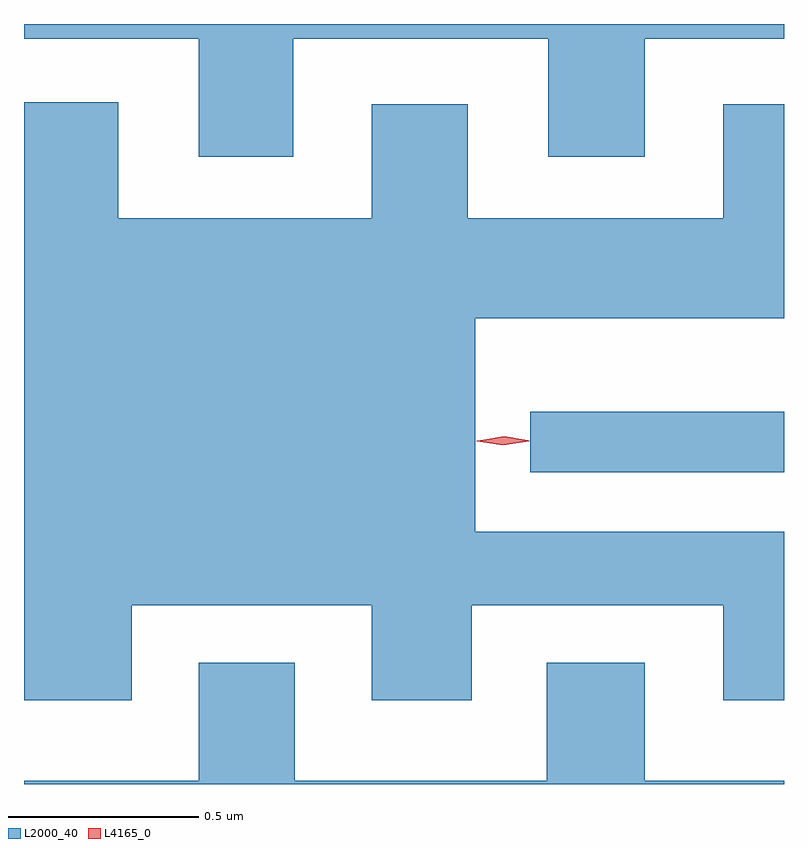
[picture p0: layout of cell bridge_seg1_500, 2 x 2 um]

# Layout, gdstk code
import gdstk
lib = gdstk.Library(unit=1e-6, precision=1e-09)
def R(c, l, rs):  # rectangles x0, y0, x1, y1
    for r in rs: c.add(gdstk.rectangle(r[:2], r[2:], *l))
def P(c, l, *ps):  # polygons
    for p in ps: c.add(gdstk.Polygon(p, *l))
L2000_40 = (2000, 40)
L4165_0 = (4165, 0)

bridge_seg1_500 = lib.new_cell('bridge_seg1_500')
R(bridge_seg1_500, L2000_40, [(481.443,847.376,482.111,847.534)])
P(bridge_seg1_500, L2000_40, [(480.819,848.516),(481.491,848.516),(481.491,848.206),(481.744,848.206),(481.744,848.516),(482.111,848.516),(482.111,848.555),(480.111,848.555),(480.111,848.516),(480.571,848.516),(480.571,848.206),(480.819,848.206)],
  [(480.394,847.026),(481.026,847.026),(481.026,846.776),(481.289,846.776),(481.289,847.026),(481.951,847.026),(481.951,846.776),(482.111,846.776),(482.111,847.219),(481.299,847.219),(481.299,847.781),(482.111,847.781),(482.111,848.344),(481.951,848.344),(481.951,848.044),(481.279,848.044),(481.279,848.344),(481.026,848.344),(481.026,848.044),(480.359,848.044),(480.359,848.349),(480.111,848.349),(480.111,846.776),(480.394,846.776)],
  [(482.111,846.564),(481.744,846.564),(481.744,846.874),(481.486,846.874),(481.486,846.564),(480.824,846.564),(480.824,846.874),(480.571,846.874),(480.571,846.564),(480.111,846.564),(480.111,846.555),(482.111,846.555)])
P(bridge_seg1_500, L4165_0, [(481.375,847.45),(481.313,847.459),(481.312,847.46),(481.313,847.46),(481.375,847.47),(481.436,847.46),(481.437,847.46),(481.436,847.459)],
  [(481.371,847.447),(481.302,847.457),(481.302,847.457),(481.302,847.458),(481.371,847.467),(481.44,847.458),(481.44,847.457),(481.44,847.457)])

lib.write_gds('bridge_seg1_500.gds')
